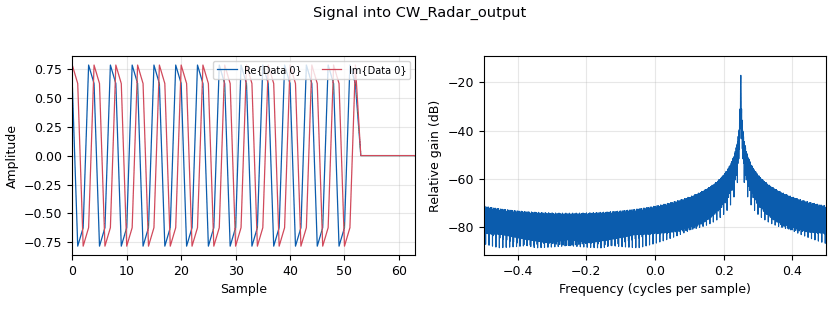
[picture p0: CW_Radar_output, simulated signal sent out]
options:
  parameters:
    generate_options: hb_qt_gui
    id: CW_Radar
    output_language: python
    title: CW Radar
  states: {}

blocks:
- name: samp_rate
  id: variable
  parameters:
    value: '32000'
  states: {}
- name: CW_Radar_Multiply
  id: blocks_multiply_xx
  parameters:
    type: complex
  states: {}
- name: CW_Radar_output
  id: pad_sink
  parameters:
    label: out
    type: complex
  states: {}
- name: CW_Radar_pulse_repetition_interval
  id: parameter
  parameters:
    label: PRI
    type: intx
    value: '1200'
  states: {}
- name: CW_Radar_pulse_width
  id: parameter
  parameters:
    label: Pulse Witdth
    type: intx
    value: '700'
  states: {}
- name: analog_sig_source_x_0_0
  id: analog_sig_source_x
  parameters:
    amp: '1'
    freq: '1_000_000'
    offset: '0'
    phase: '0'
    samp_rate: samp_rate
    type: complex
    waveform: analog.GR_SIN_WAVE
  states: {}
- name: blocks_vector_source_x_0_0
  id: blocks_vector_source_x
  parameters:
    repeat: 'True'
    type: complex
    vector: '[1 for i in range(1, CW_Radar_pulse_width)] + [0 for i in range(1, (CW_Radar_pulse_repetition_interval))]'
  states: {}

connections:
- [CW_Radar_Multiply, '0', CW_Radar_output, '0']
- [analog_sig_source_x_0_0, '0', CW_Radar_Multiply, '0']
- [blocks_vector_source_x_0_0, '0', CW_Radar_Multiply, '1']

metadata:
  file_format: 1
